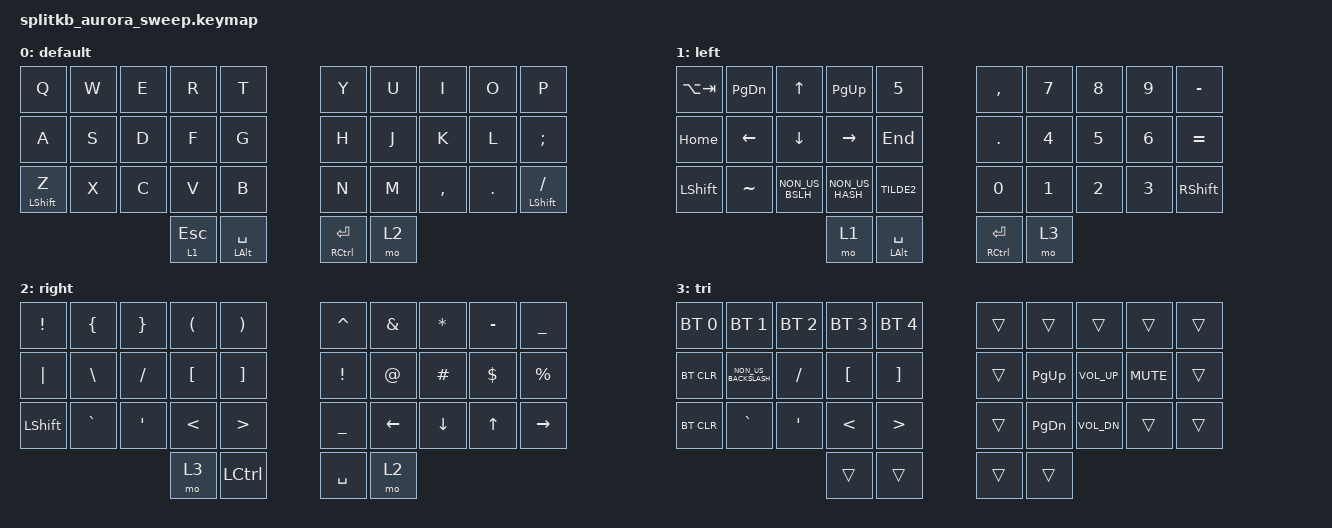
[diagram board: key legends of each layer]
/*
 * Copyright (c) 2022 The ZMK Contributors
 *
 * SPDX-License-Identifier: MIT
 */

#include <behaviors.dtsi>
#include <dt-bindings/zmk/bt.h>
#include <dt-bindings/zmk/keys.h>

&mt {
    //  flavor = "tap-preferred";
    // tapping-term-ms = <200>;
};

/ {
    combos {
        compatible = "zmk,combos";

        combo_esc {
            timeout-ms = <50>;
            key-positions = <0 1>;
            bindings = <&kp TAB>;
        };

        combo_tab {
            timeout-ms = <25>;
            key-positions = <10 11>;
            bindings = <&kp BACKSPACE>;
        };
    };

    keymap {
        compatible = "zmk,keymap";

        default {
            bindings = <
&kp Q             &kp W               &kp E  &kp R  &kp T    &kp Y  &kp U  &kp I      &kp O            &kp P
&kp A             &kp S               &kp D  &kp F  &kp G    &kp H  &kp J  &kp K      &kp L            &kp SEMICOLON
&mt LEFT_SHIFT Z  &kp X               &kp C  &kp V  &kp B    &kp N  &kp M  &kp COMMA  &kp DOT          &mt LSHFT FSLH
&lt 1 ESCAPE      &mt LEFT_ALT SPACE                                                  &mt RCTRL ENTER  &mo 2
            >;
        };

        left {
            bindings = <
&kp LA(TAB)  &kp PAGE_DOWN       &kp UP_ARROW     &kp PAGE_UP      &kp N5        &kp COMMA     &kp N7        &kp N8        &kp N9           &kp MINUS
&kp HOME     &kp LEFT_ARROW      &kp DOWN_ARROW   &kp RIGHT_ARROW  &kp END       &kp PERIOD    &kp NUMBER_4  &kp NUMBER_5  &kp NUMBER_6     &kp EQUAL
&kp LSHIFT   &kp TILDE           &kp NON_US_BSLH  &kp NON_US_HASH  &kp TILDE2    &kp NUMBER_0  &kp NUMBER_1  &kp NUMBER_2  &kp NUMBER_3     &kp RIGHT_SHIFT
&mo 1        &mt LEFT_ALT SPACE                                                                                            &mt RCTRL ENTER  &mo 3
            >;
        };

        right {
            bindings = <
&kp EXCL   &kp LEFT_BRACE  &kp RIGHT_BRACE   &kp LEFT_PARENTHESIS  &kp RIGHT_PARENTHESIS    &kp CARET        &kp AMPERSAND  &kp ASTERISK  &kp MINUS   &kp UNDERSCORE
&kp PIPE   &kp BACKSLASH   &kp FSLH          &kp LEFT_BRACKET      &kp RIGHT_BRACKET        &kp EXCLAMATION  &kp AT_SIGN    &kp HASH      &kp DOLLAR  &kp PERCENT
&kp LSHFT  &kp GRAVE       &kp SINGLE_QUOTE  &kp LESS_THAN         &kp GREATER_THAN         &kp UNDER        &kp LEFT       &kp DOWN      &kp UP      &kp RIGHT
&mo 3      &kp LCTRL                                                                                                                      &kp SPACE   &mo 2
            >;
        };

        tri {
            bindings = <
&bt BT_SEL 0  &bt BT_SEL 1          &bt BT_SEL 2      &bt BT_SEL 3      &bt BT_SEL 4         &trans  &trans     &trans        &trans      &trans
&bt BT_CLR    &kp NON_US_BACKSLASH  &kp SLASH         &kp LEFT_BRACKET  &kp RIGHT_BRACKET    &trans  &kp PG_UP  &kp K_VOL_UP  &kp K_MUTE  &trans
&bt BT_CLR    &kp GRAVE             &kp SINGLE_QUOTE  &kp LESS_THAN     &kp GREATER_THAN     &trans  &kp PG_DN  &kp K_VOL_DN  &trans      &trans
&trans        &trans                                                                                                          &trans      &trans
            >;
        };
    };
};
